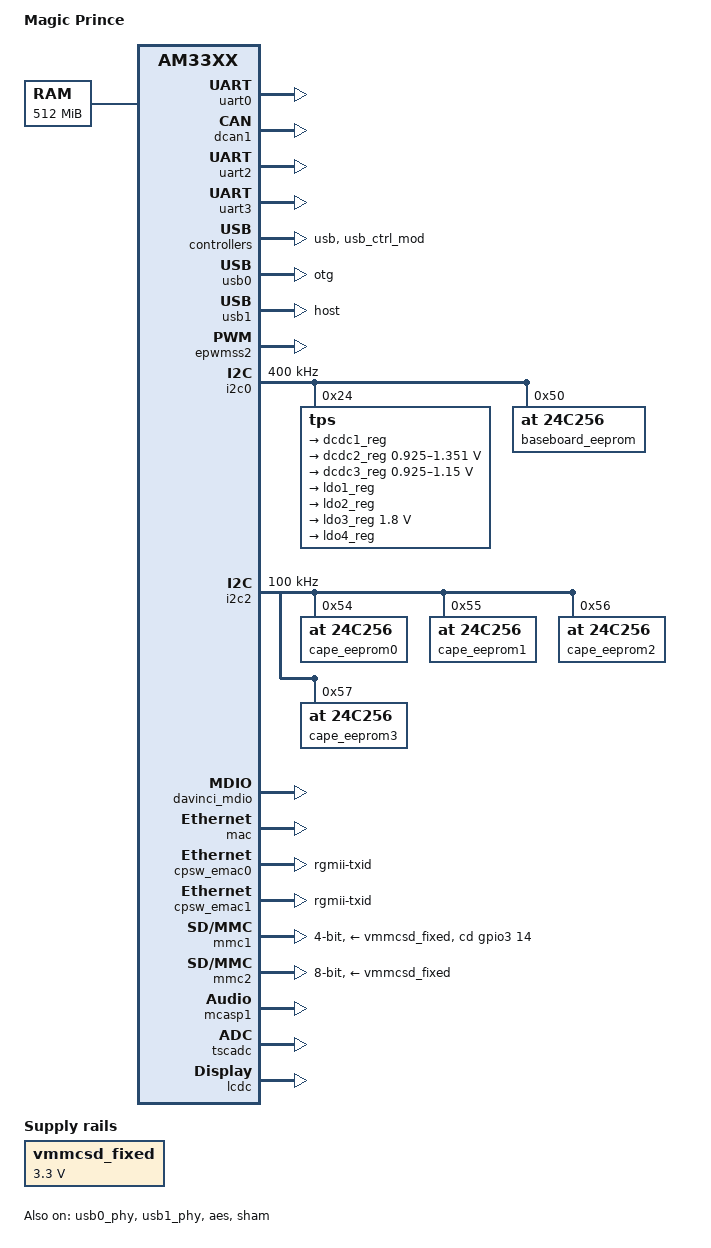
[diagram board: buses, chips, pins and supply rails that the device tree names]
/*
 * Copyright (C) 2012 Texas Instruments Incorporated - http://www.ti.com/
 *
 * This program is free software; you can redistribute it and/or modify
 * it under the terms of the GNU General Public License version 2 as
 * published by the Free Software Foundation.
 */
/dts-v1/;

#include "am33xx.dtsi"
#include <dt-bindings/input/input.h>

/ {
	model = "Magic Prince";
	compatible = "ti,am335x-aboc", "ti,am33xx";

	cpus {
		cpu@0 {
			cpu0-supply = <&dcdc2_reg>;
		};
	};

	memory@80000000 {
		device_type = "memory";
		reg = <0x80000000 0x20000000>; /* 512 MB */
	};

	chosen {
		stdout-path = &uart0;
	};

	leds {
		pinctrl-names = "default";
		pinctrl-0 = <&user_leds_s0>;

		compatible = "gpio-leds";
	};

	keys {
		pinctrl-names = "default";
		pinctrl-0 = <&gpio_key_pins>;
		compatible = "gpio-keys";
	};

	vmmcsd_fixed: fixedregulator0 {
		compatible = "regulator-fixed";
		regulator-name = "vmmcsd_fixed";
		regulator-min-microvolt = <3300000>;
		regulator-max-microvolt = <3300000>;
	};
};

&cpu0_opp_table {
	/*
	 * All PG 2.0 silicon may not support 1GHz but some of the early
	 * BeagleBone Blacks have PG 2.0 silicon which is guaranteed
	 * to support 1GHz OPP so enable it for PG 2.0 on this board.
	 */
	oppnitro@1000000000 {
		opp-supported-hw = <0x06 0x0100>;
	};
};

&am33xx_pinmux {
	pinctrl-names = "default";
	pinctrl-0 = <&clkout2_pin>;

	user_leds_s0: user_leds_s0 {
		pinctrl-single,pins = <
		>;
	};

	gpio_key_pins: gpio_keys_s0 {
		pinctrl-single,pins = <
			AM33XX_IOPAD(0x8a8, PIN_INPUT_PULLUP | MUX_MODE7)//gpio2_8 boot2
		>;
	};

	i2c0_pins: pinmux_i2c0_pins {
		pinctrl-single,pins = <
			AM33XX_IOPAD(0x988, PIN_INPUT_PULLUP | MUX_MODE0)	/* i2c0_sda.i2c0_sda */
			AM33XX_IOPAD(0x98c, PIN_INPUT_PULLUP | MUX_MODE0)	/* i2c0_scl.i2c0_scl */
		>;
	};

	i2c2_pins: pinmux_i2c2_pins {
		pinctrl-single,pins = <
			AM33XX_IOPAD(0x978, PIN_INPUT_PULLUP | MUX_MODE3)	/* uart1_ctsn.i2c2_sda */
			AM33XX_IOPAD(0x97c, PIN_INPUT_PULLUP | MUX_MODE3)	/* uart1_rtsn.i2c2_scl */
		>;
	};

	uart0_pins: pinmux_uart0_pins {
		pinctrl-single,pins = <
			AM33XX_IOPAD(0x970, PIN_INPUT_PULLUP | MUX_MODE0)	/* uart0_rxd.uart0_rxd */
			AM33XX_IOPAD(0x974, PIN_OUTPUT_PULLDOWN | MUX_MODE0)	/* uart0_txd.uart0_txd */
		>;
	};

//	uart1_pins: pinmux_uart1_pins {
//		pinctrl-single,pins = <
//			AM33XX_IOPAD(0x980, PIN_INPUT_PULLUP | MUX_MODE0)	/* uart1_rxd.uart1_rxd */
//			AM33XX_IOPAD(0x984, PIN_OUTPUT_PULLDOWN | MUX_MODE0)	/* uart1_txd.uart1_txd */
//		>;
//	};
//	dcan0_pins: pinmux_dcan0_pins {
//		pinctrl-single,pins = <
//			/* uart1_ctsn.dcan0_tx */
//			AM33XX_IOPAD(0x978, PIN_OUTPUT | MUX_MODE2)
//			/* uart1_rtsn.dcan0_rx */
//			AM33XX_IOPAD(0x97C, PIN_INPUT | MUX_MODE2)
//		>;
//	};

	dcan1_pins: pinmux_dcan1_pins {
		pinctrl-single,pins = <
			/* uart1_rxd.dcan1_tx */
			AM33XX_IOPAD(0x980, PIN_OUTPUT | MUX_MODE2)
			/* uart1_txd.dcan1_rx */
			AM33XX_IOPAD(0x984, PIN_INPUT | MUX_MODE2)
		>;
	};

	uart2_pins: pinmux_uart2_pins {
		pinctrl-single,pins = <
			AM33XX_IOPAD(0x950, PIN_INPUT_PULLUP | MUX_MODE1)	/* uart2_rxd.uart2_rxd */
			AM33XX_IOPAD(0x954, PIN_OUTPUT_PULLDOWN | MUX_MODE1)	/* uart2_txd.uart2_txd */
		>;
	};
	uart3_pins: pinmux_uart3_pins {
		pinctrl-single,pins = <
			AM33XX_IOPAD(0x960, PIN_INPUT_PULLUP | MUX_MODE1)	/* uart3_rxd.uart3_rxd */
			AM33XX_IOPAD(0x964, PIN_OUTPUT_PULLDOWN | MUX_MODE1)	/* uart3_txd.uart3_txd */
		>;
	};


	clkout2_pin: pinmux_clkout2_pin {
		pinctrl-single,pins = <
			AM33XX_IOPAD(0x9b4, PIN_OUTPUT_PULLDOWN | MUX_MODE3)	/* xdma_event_intr1.clkout2 */
		>;
	};

	lcd_pins_default: lcd_pins_default {
		pinctrl-single,pins = <
			AM33XX_IOPAD(0x820, PIN_OUTPUT | MUX_MODE1)	/* gpmc_ad8.lcd_data23 */
			AM33XX_IOPAD(0x824, PIN_OUTPUT | MUX_MODE1)	/* gpmc_ad9.lcd_data22 */
			AM33XX_IOPAD(0x828, PIN_OUTPUT | MUX_MODE1)	/* gpmc_ad10.lcd_data21 */
			AM33XX_IOPAD(0x82c, PIN_OUTPUT | MUX_MODE1)	/* gpmc_ad11.lcd_data20 */
			AM33XX_IOPAD(0x830, PIN_OUTPUT | MUX_MODE1)	/* gpmc_ad12.lcd_data19 */
			AM33XX_IOPAD(0x834, PIN_OUTPUT | MUX_MODE1)	/* gpmc_ad13.lcd_data18 */
			AM33XX_IOPAD(0x838, PIN_OUTPUT | MUX_MODE1)	/* gpmc_ad14.lcd_data17 */
			AM33XX_IOPAD(0x83c, PIN_OUTPUT | MUX_MODE1)	/* gpmc_ad15.lcd_data16 */
			AM33XX_IOPAD(0x8a0, PIN_OUTPUT | MUX_MODE0)	/* lcd_data0.lcd_data0 */
			AM33XX_IOPAD(0x8a4, PIN_OUTPUT | MUX_MODE0)	/* lcd_data1.lcd_data1 */
			AM33XX_IOPAD(0x8a8, PIN_OUTPUT | MUX_MODE0)	/* lcd_data2.lcd_data2 */
			AM33XX_IOPAD(0x8ac, PIN_OUTPUT | MUX_MODE0)	/* lcd_data3.lcd_data3 */
			AM33XX_IOPAD(0x8b0, PIN_OUTPUT | MUX_MODE0)	/* lcd_data4.lcd_data4 */
			AM33XX_IOPAD(0x8b4, PIN_OUTPUT | MUX_MODE0)	/* lcd_data5.lcd_data5 */
			AM33XX_IOPAD(0x8b8, PIN_OUTPUT | MUX_MODE0)	/* lcd_data6.lcd_data6 */
			AM33XX_IOPAD(0x8bc, PIN_OUTPUT | MUX_MODE0)	/* lcd_data7.lcd_data7 */
			AM33XX_IOPAD(0x8c0, PIN_OUTPUT | MUX_MODE0)	/* lcd_data8.lcd_data8 */
			AM33XX_IOPAD(0x8c4, PIN_OUTPUT | MUX_MODE0)	/* lcd_data9.lcd_data9 */
			AM33XX_IOPAD(0x8c8, PIN_OUTPUT | MUX_MODE0)	/* lcd_data10.lcd_data10 */
			AM33XX_IOPAD(0x8cc, PIN_OUTPUT | MUX_MODE0)	/* lcd_data11.lcd_data11 */
			AM33XX_IOPAD(0x8d0, PIN_OUTPUT | MUX_MODE0)	/* lcd_data12.lcd_data12 */
			AM33XX_IOPAD(0x8d4, PIN_OUTPUT | MUX_MODE0)	/* lcd_data13.lcd_data13 */
			AM33XX_IOPAD(0x8d8, PIN_OUTPUT | MUX_MODE0)	/* lcd_data14.lcd_data14 */
			AM33XX_IOPAD(0x8dc, PIN_OUTPUT | MUX_MODE0)	/* lcd_data15.lcd_data15 */
			AM33XX_IOPAD(0x8e0, PIN_OUTPUT | MUX_MODE0)	/* lcd_vsync.lcd_vsync */
			AM33XX_IOPAD(0x8e4, PIN_OUTPUT | MUX_MODE0)	/* lcd_hsync.lcd_hsync */
			AM33XX_IOPAD(0x8e8, PIN_OUTPUT | MUX_MODE0)	/* lcd_pclk.lcd_pclk */
			AM33XX_IOPAD(0x8ec, PIN_OUTPUT | MUX_MODE0)	/* lcd_ac_bias_en.lcd_ac_bias_en */
		>;
	};

	lcd_pins_sleep: lcd_pins_sleep {
		pinctrl-single,pins = <
			AM33XX_IOPAD(0x820, PIN_INPUT_PULLDOWN | MUX_MODE7)	/* gpmc_ad8.lcd_data23 */
			AM33XX_IOPAD(0x824, PIN_INPUT_PULLDOWN | MUX_MODE7)	/* gpmc_ad9.lcd_data22 */
			AM33XX_IOPAD(0x828, PIN_INPUT_PULLDOWN | MUX_MODE7)	/* gpmc_ad10.lcd_data21 */
			AM33XX_IOPAD(0x82c, PIN_INPUT_PULLDOWN | MUX_MODE7)	/* gpmc_ad11.lcd_data20 */
			AM33XX_IOPAD(0x830, PIN_INPUT_PULLDOWN | MUX_MODE7)	/* gpmc_ad12.lcd_data19 */
			AM33XX_IOPAD(0x834, PIN_INPUT_PULLDOWN | MUX_MODE7)	/* gpmc_ad13.lcd_data18 */
			AM33XX_IOPAD(0x838, PIN_INPUT_PULLDOWN | MUX_MODE7)	/* gpmc_ad14.lcd_data17 */
			AM33XX_IOPAD(0x83c, PIN_INPUT_PULLDOWN | MUX_MODE7)	/* gpmc_ad15.lcd_data16 */
			AM33XX_IOPAD(0x8a0, PULL_DISABLE | MUX_MODE7)	/* lcd_data0.lcd_data0 */
			AM33XX_IOPAD(0x8a4, PULL_DISABLE | MUX_MODE7)	/* lcd_data1.lcd_data1 */
			AM33XX_IOPAD(0x8a8, PULL_DISABLE | MUX_MODE7)	/* lcd_data2.lcd_data2 */
			AM33XX_IOPAD(0x8ac, PULL_DISABLE | MUX_MODE7)	/* lcd_data3.lcd_data3 */
			AM33XX_IOPAD(0x8b0, PULL_DISABLE | MUX_MODE7)	/* lcd_data4.lcd_data4 */
			AM33XX_IOPAD(0x8b4, PULL_DISABLE | MUX_MODE7)	/* lcd_data5.lcd_data5 */
			AM33XX_IOPAD(0x8b8, PULL_DISABLE | MUX_MODE7)	/* lcd_data6.lcd_data6 */
			AM33XX_IOPAD(0x8bc, PULL_DISABLE | MUX_MODE7)	/* lcd_data7.lcd_data7 */
			AM33XX_IOPAD(0x8c0, PULL_DISABLE | MUX_MODE7)	/* lcd_data8.lcd_data8 */
			AM33XX_IOPAD(0x8c4, PULL_DISABLE | MUX_MODE7)	/* lcd_data9.lcd_data9 */
			AM33XX_IOPAD(0x8c8, PULL_DISABLE | MUX_MODE7)	/* lcd_data10.lcd_data10 */
			AM33XX_IOPAD(0x8cc, PULL_DISABLE | MUX_MODE7)	/* lcd_data11.lcd_data11 */
			AM33XX_IOPAD(0x8d0, PULL_DISABLE | MUX_MODE7)	/* lcd_data12.lcd_data12 */
			AM33XX_IOPAD(0x8d4, PULL_DISABLE | MUX_MODE7)	/* lcd_data13.lcd_data13 */
			AM33XX_IOPAD(0x8d8, PULL_DISABLE | MUX_MODE7)	/* lcd_data14.lcd_data14 */
			AM33XX_IOPAD(0x8dc, PULL_DISABLE | MUX_MODE7)	/* lcd_data15.lcd_data15 */
			AM33XX_IOPAD(0x8e0, PIN_INPUT_PULLDOWN | MUX_MODE7)	/* lcd_vsync.lcd_vsync */
			AM33XX_IOPAD(0x8e4, PIN_INPUT_PULLDOWN | MUX_MODE7)	/* lcd_hsync.lcd_hsync */
			AM33XX_IOPAD(0x8e8, PIN_INPUT_PULLDOWN | MUX_MODE7)	/* lcd_pclk.lcd_pclk */
			AM33XX_IOPAD(0x8ec, PIN_INPUT_PULLDOWN | MUX_MODE7)	/* lcd_ac_bias_en.lcd_ac_bias_en */
		>;
	};

	davinci_mdio_default: davinci_mdio_default {
		pinctrl-single,pins = <
			/* MDIO */
			AM33XX_IOPAD(0x948, PIN_INPUT_PULLUP | SLEWCTRL_FAST | MUX_MODE0)	/* mdio_data.mdio_data */
			AM33XX_IOPAD(0x94c, PIN_OUTPUT_PULLUP | MUX_MODE0)			/* mdio_clk.mdio_clk */
		>;
	};

	davinci_mdio_sleep: davinci_mdio_sleep {
		pinctrl-single,pins = <
			/* MDIO reset value */
			AM33XX_IOPAD(0x948, PIN_INPUT_PULLDOWN | MUX_MODE7)
			AM33XX_IOPAD(0x94c, PIN_INPUT_PULLDOWN | MUX_MODE7)
		>;
	};

	clkout2_pin: pinmux_clkout2_pin {
		pinctrl-single,pins = <
			AM33XX_IOPAD(0x9b4, PIN_OUTPUT_PULLDOWN | MUX_MODE3)	/* xdma_event_intr1.clkout2 */
		>;
	};

	ecap2_pins: backlight_pins {
		pinctrl-single,pins = <
			AM33XX_IOPAD(0x99c, MUX_MODE4)	/* mcasp0_ahclkr.ecap2_in_pwm2_out */
		>;
	};

	cpsw_default: cpsw_default {
		pinctrl-single,pins = <
			/* Slave 1 */
			AM33XX_IOPAD(0x914, PIN_OUTPUT_PULLDOWN | MUX_MODE2)	/* mii1_txen.rgmii1_tctl */
			AM33XX_IOPAD(0x918, PIN_INPUT_PULLDOWN | MUX_MODE2)	/* mii1_rxdv.rgmii1_rctl */
			AM33XX_IOPAD(0x91c, PIN_OUTPUT_PULLDOWN | MUX_MODE2)	/* mii1_txd3.rgmii1_td3 */
			AM33XX_IOPAD(0x920, PIN_OUTPUT_PULLDOWN | MUX_MODE2)	/* mii1_txd2.rgmii1_td2 */
			AM33XX_IOPAD(0x924, PIN_OUTPUT_PULLDOWN | MUX_MODE2)	/* mii1_txd1.rgmii1_td1 */
			AM33XX_IOPAD(0x928, PIN_OUTPUT_PULLDOWN | MUX_MODE2)	/* mii1_txd0.rgmii1_td0 */
			AM33XX_IOPAD(0x92c, PIN_OUTPUT_PULLDOWN | MUX_MODE2)	/* mii1_txclk.rgmii1_tclk */
			AM33XX_IOPAD(0x930, PIN_INPUT_PULLDOWN | MUX_MODE2)	/* mii1_rxclk.rgmii1_rclk */
			AM33XX_IOPAD(0x934, PIN_INPUT_PULLDOWN | MUX_MODE2)	/* mii1_rxd3.rgmii1_rd3 */
			AM33XX_IOPAD(0x938, PIN_INPUT_PULLDOWN | MUX_MODE2)	/* mii1_rxd2.rgmii1_rd2 */
			AM33XX_IOPAD(0x93c, PIN_INPUT_PULLDOWN | MUX_MODE2)	/* mii1_rxd1.rgmii1_rd1 */
			AM33XX_IOPAD(0x940, PIN_INPUT_PULLDOWN | MUX_MODE2)	/* mii1_rxd0.rgmii1_rd0 */

			/* Slave 2 */
			AM33XX_IOPAD(0x840, PIN_OUTPUT_PULLDOWN | MUX_MODE2)	/* gpmc_a0.rgmii2_tctl */
			AM33XX_IOPAD(0x844, PIN_INPUT_PULLDOWN | MUX_MODE2)	/* gpmc_a1.rgmii2_rctl */
			AM33XX_IOPAD(0x848, PIN_OUTPUT_PULLDOWN | MUX_MODE2)	/* gpmc_a2.rgmii2_td3 */
			AM33XX_IOPAD(0x84c, PIN_OUTPUT_PULLDOWN | MUX_MODE2)	/* gpmc_a3.rgmii2_td2 */
			AM33XX_IOPAD(0x850, PIN_OUTPUT_PULLDOWN | MUX_MODE2)	/* gpmc_a4.rgmii2_td1 */
			AM33XX_IOPAD(0x854, PIN_OUTPUT_PULLDOWN | MUX_MODE2)	/* gpmc_a5.rgmii2_td0 */
			AM33XX_IOPAD(0x858, PIN_OUTPUT_PULLDOWN | MUX_MODE2)	/* gpmc_a6.rgmii2_tclk */
			AM33XX_IOPAD(0x85c, PIN_INPUT_PULLDOWN | MUX_MODE2)	/* gpmc_a7.rgmii2_rclk */
			AM33XX_IOPAD(0x860, PIN_INPUT_PULLDOWN | MUX_MODE2)	/* gpmc_a8.rgmii2_rd3 */
			AM33XX_IOPAD(0x864, PIN_INPUT_PULLDOWN | MUX_MODE2)	/* gpmc_a9.rgmii2_rd2 */
			AM33XX_IOPAD(0x868, PIN_INPUT_PULLDOWN | MUX_MODE2)	/* gpmc_a10.rgmii2_rd1 */
			AM33XX_IOPAD(0x86c, PIN_INPUT_PULLDOWN | MUX_MODE2)	/* gpmc_a11.rgmii2_rd0 */
		>;
	};

	cpsw_sleep: cpsw_sleep {
		pinctrl-single,pins = <
			/* Slave 1 reset value */
			AM33XX_IOPAD(0x914, PIN_INPUT_PULLDOWN | MUX_MODE7)
			AM33XX_IOPAD(0x918, PIN_INPUT_PULLDOWN | MUX_MODE7)
			AM33XX_IOPAD(0x91c, PIN_INPUT_PULLDOWN | MUX_MODE7)
			AM33XX_IOPAD(0x920, PIN_INPUT_PULLDOWN | MUX_MODE7)
			AM33XX_IOPAD(0x924, PIN_INPUT_PULLDOWN | MUX_MODE7)
			AM33XX_IOPAD(0x928, PIN_INPUT_PULLDOWN | MUX_MODE7)
			AM33XX_IOPAD(0x92c, PIN_INPUT_PULLDOWN | MUX_MODE7)
			AM33XX_IOPAD(0x930, PIN_INPUT_PULLDOWN | MUX_MODE7)
			AM33XX_IOPAD(0x934, PIN_INPUT_PULLDOWN | MUX_MODE7)
			AM33XX_IOPAD(0x938, PIN_INPUT_PULLDOWN | MUX_MODE7)
			AM33XX_IOPAD(0x93c, PIN_INPUT_PULLDOWN | MUX_MODE7)
			AM33XX_IOPAD(0x940, PIN_INPUT_PULLDOWN | MUX_MODE7)

			/* Slave 2 reset value*/
			AM33XX_IOPAD(0x840, PIN_INPUT_PULLDOWN | MUX_MODE7)
			AM33XX_IOPAD(0x844, PIN_INPUT_PULLDOWN | MUX_MODE7)
			AM33XX_IOPAD(0x848, PIN_INPUT_PULLDOWN | MUX_MODE7)
			AM33XX_IOPAD(0x84c, PIN_INPUT_PULLDOWN | MUX_MODE7)
			AM33XX_IOPAD(0x850, PIN_INPUT_PULLDOWN | MUX_MODE7)
			AM33XX_IOPAD(0x854, PIN_INPUT_PULLDOWN | MUX_MODE7)
			AM33XX_IOPAD(0x858, PIN_INPUT_PULLDOWN | MUX_MODE7)
			AM33XX_IOPAD(0x85c, PIN_INPUT_PULLDOWN | MUX_MODE7)
			AM33XX_IOPAD(0x860, PIN_INPUT_PULLDOWN | MUX_MODE7)
			AM33XX_IOPAD(0x864, PIN_INPUT_PULLDOWN | MUX_MODE7)
			AM33XX_IOPAD(0x868, PIN_INPUT_PULLDOWN | MUX_MODE7)
			AM33XX_IOPAD(0x86c, PIN_INPUT_PULLDOWN | MUX_MODE7)
		>;
	};

	mmc1_pins: pinmux_mmc1_pins {
		pinctrl-single,pins = <
			AM33XX_IOPAD(0x990, PIN_INPUT | MUX_MODE7) //gpio3_14
			0x0F0 (PIN_INPUT_PULLUP | MUX_MODE0)    /* mmc0_dat3.mmc0_dat3 */
            0x0F4 (PIN_INPUT_PULLUP | MUX_MODE0)    /* mmc0_dat2.mmc0_dat2 */
            0x0F8 (PIN_INPUT_PULLUP | MUX_MODE0)    /* mmc0_dat1.mmc0_dat1 */
            0x0FC (PIN_INPUT_PULLUP | MUX_MODE0)    /* mmc0_dat0.mmc0_dat0 */
            0x100 (PIN_INPUT_PULLUP | MUX_MODE0)    /* mmc0_clk.mmc0_clk */
            0x104 (PIN_INPUT_PULLUP | MUX_MODE0)    /* mmc0_cmd.mmc0_cmd */
		>;
	};

	mcasp1_pins: mcasp1_pins {
		pinctrl-single,pins = <
			AM33XX_IOPAD(0x90c, PIN_INPUT_PULLDOWN | MUX_MODE4) /* mii1_crs.mcasp1_aclkx */
			AM33XX_IOPAD(0x910, PIN_INPUT_PULLDOWN | MUX_MODE4) /* mii1_rxerr.mcasp1_fsx */
			AM33XX_IOPAD(0x908, PIN_OUTPUT_PULLDOWN | MUX_MODE4) /* mii1_col.mcasp1_axr2 */
			AM33XX_IOPAD(0x944, PIN_INPUT_PULLDOWN | MUX_MODE4) /* rmii1_ref_clk.mcasp1_axr3 */
		>;
	};

	mcasp1_pins_sleep: mcasp1_pins_sleep {
		pinctrl-single,pins = <
			AM33XX_IOPAD(0x90c, PIN_INPUT_PULLDOWN | MUX_MODE7)
			AM33XX_IOPAD(0x910, PIN_INPUT_PULLDOWN | MUX_MODE7)
			AM33XX_IOPAD(0x908, PIN_INPUT_PULLDOWN | MUX_MODE7)
			AM33XX_IOPAD(0x944, PIN_INPUT_PULLDOWN | MUX_MODE7)
		>;
	};

	emmc_pins: pinmux_emmc_pins {
		pinctrl-single,pins = <
			AM33XX_IOPAD(0x880, PIN_INPUT_PULLUP | MUX_MODE2) /* gpmc_csn1.mmc1_clk */
			AM33XX_IOPAD(0x884, PIN_INPUT_PULLUP | MUX_MODE2) /* gpmc_csn2.mmc1_cmd */
			AM33XX_IOPAD(0x800, PIN_INPUT_PULLUP | MUX_MODE1) /* gpmc_ad0.mmc1_dat0 */
			AM33XX_IOPAD(0x804, PIN_INPUT_PULLUP | MUX_MODE1) /* gpmc_ad1.mmc1_dat1 */
			AM33XX_IOPAD(0x808, PIN_INPUT_PULLUP | MUX_MODE1) /* gpmc_ad2.mmc1_dat2 */
			AM33XX_IOPAD(0x80c, PIN_INPUT_PULLUP | MUX_MODE1) /* gpmc_ad3.mmc1_dat3 */
			AM33XX_IOPAD(0x810, PIN_INPUT_PULLUP | MUX_MODE1) /* gpmc_ad4.mmc1_dat4 */
			AM33XX_IOPAD(0x814, PIN_INPUT_PULLUP | MUX_MODE1) /* gpmc_ad5.mmc1_dat5 */
			AM33XX_IOPAD(0x818, PIN_INPUT_PULLUP | MUX_MODE1) /* gpmc_ad6.mmc1_dat6 */
			AM33XX_IOPAD(0x81c, PIN_INPUT_PULLUP | MUX_MODE1) /* gpmc_ad7.mmc1_dat7 */
		>;
	};
};

&uart0 {
	pinctrl-names = "default";
	pinctrl-0 = <&uart0_pins>;
	status = "okay";
};

//&uart1 {
//	pinctrl-names = "default";
//	pinctrl-0 = <&uart1_pins>;
//	status = "okay";
//};
//&dcan0 {
//	status = "okay";
//	pinctrl-names = "default";
//	pinctrl-0 = <&dcan0_pins>;
//};

&dcan1 {
	status = "okay";
	pinctrl-names = "default";
	pinctrl-0 = <&dcan1_pins>;
};

&uart2 {
	pinctrl-names = "default";
	pinctrl-0 = <&uart2_pins>;

	status = "okay";
};

&uart3 {
	pinctrl-names = "default";
	pinctrl-0 = <&uart3_pins>;

	status = "okay";
};

/*
&rtc {
	system-power-controller;
};
*/

&usb {
	status = "okay";
};

&usb_ctrl_mod {
	status = "okay";
};

&usb0_phy {
	status = "okay";
};

&usb1_phy {
	status = "okay";
};

&usb0 {
	status = "okay";
	dr_mode = "otg";
};

&usb1 {
	status = "okay";
	dr_mode = "host";
};

&cppi41dma  {
	status = "okay";
};

&epwmss2 {
	status = "okay";

	ecap2: ecap@48304100 {
		status = "okay";
		pinctrl-names = "default";
		pinctrl-0 = <&ecap2_pins>;
	};
};

&i2c0 {
	pinctrl-names = "default";
	pinctrl-0 = <&i2c0_pins>;

	status = "okay";
	clock-frequency = <400000>;

	tps: tps@24 {
		reg = <0x24>;
	};

	baseboard_eeprom: baseboard_eeprom@50 {
		compatible = "at,24c256";
		reg = <0x50>;

		#address-cells = <1>;
		#size-cells = <1>;
		baseboard_data: baseboard_data@0 {
			reg = <0 0x100>;
		};
	};
};

&i2c2 {
	pinctrl-names = "default";
	pinctrl-0 = <&i2c2_pins>;

	status = "okay";
	clock-frequency = <100000>;

	cape_eeprom0: cape_eeprom0@54 {
		compatible = "at,24c256";
		reg = <0x54>;
		#address-cells = <1>;
		#size-cells = <1>;
		cape0_data: cape_data@0 {
			reg = <0 0x100>;
		};
	};

	cape_eeprom1: cape_eeprom1@55 {
		compatible = "at,24c256";
		reg = <0x55>;
		#address-cells = <1>;
		#size-cells = <1>;
		cape1_data: cape_data@0 {
			reg = <0 0x100>;
		};
	};

	cape_eeprom2: cape_eeprom2@56 {
		compatible = "at,24c256";
		reg = <0x56>;
		#address-cells = <1>;
		#size-cells = <1>;
		cape2_data: cape_data@0 {
			reg = <0 0x100>;
		};
	};

	cape_eeprom3: cape_eeprom3@57 {
		compatible = "at,24c256";
		reg = <0x57>;
		#address-cells = <1>;
		#size-cells = <1>;
		cape3_data: cape_data@0 {
			reg = <0 0x100>;
		};
	};
};


/include/ "tps65217.dtsi"

&tps {
	/*
	 * Configure pmic to enter OFF-state instead of SLEEP-state ("RTC-only
	 * mode") at poweroff.  Most BeagleBone versions do not support RTC-only
	 * mode and risk hardware damage if this mode is entered.
	 *
	 * For details, see linux-omap mailing list May 2015 thread
	 *	[PATCH] ARM: dts: am335x-bone* enable pmic-shutdown-controller
	 * In particular, messages:
	 *	http://www.spinics.net/lists/linux-omap/msg118585.html
	 *	http://www.spinics.net/lists/linux-omap/msg118615.html
	 *
	 * You can override this later with
	 *	&tps {  /delete-property/ ti,pmic-shutdown-controller;  }
	 * if you want to use RTC-only mode and made sure you are not affected
	 * by the hardware problems. (Tip: double-check by performing a current
	 * measurement after shutdown: it should be less than 1 mA.)
	 */
	ti,pmic-shutdown-controller;

	regulators {
		dcdc1_reg: regulator@0 {
			regulator-name = "vdds_dpr";
			regulator-always-on;
		};

		dcdc2_reg: regulator@1 {
			/* VDD_MPU voltage limits 0.95V - 1.26V with +/-4% tolerance */
			regulator-name = "vdd_mpu";
			regulator-min-microvolt = <925000>;
			regulator-max-microvolt = <1351500>;
			regulator-boot-on;
			regulator-always-on;
		};

		dcdc3_reg: regulator@2 {
			/* VDD_CORE voltage limits 0.95V - 1.1V with +/-4% tolerance */
			regulator-name = "vdd_core";
			regulator-min-microvolt = <925000>;
			regulator-max-microvolt = <1150000>;
			regulator-boot-on;
			regulator-always-on;
		};

		ldo1_reg: regulator@3 {
			regulator-name = "vio,vrtc,vdds";
			regulator-always-on;
		};

		ldo2_reg: regulator@4 {
			regulator-name = "vdd_3v3aux";
			regulator-always-on;
		};

		ldo3_reg: regulator@5 {
			regulator-name = "vdd_1v8";
			regulator-always-on;
		};

		ldo4_reg: regulator@6 {
			regulator-name = "vdd_3v3a";
			regulator-always-on;
		};
	};
};

&davinci_mdio {
	pinctrl-names = "default", "sleep";
	pinctrl-0 = <&davinci_mdio_default>;
	pinctrl-1 = <&davinci_mdio_sleep>;
	status = "okay";
};

&aes {
	status = "okay";
};

&sham {
	status = "okay";
};

&rtc {
	clocks = <&clk_32768_ck>,  <&l4_per_clkctrl AM3_CLKDIV32K_CLKCTRL 0>;
	clock-names = "ext-clk", "int-clk";
	system-power-controller;
};

&wkup_m3_ipc {
	ti,scale-data-fw = "am335x-bone-scale-data.bin";
};


&ldo3_reg {
	regulator-min-microvolt = <1800000>;
	regulator-max-microvolt = <1800000>;
	regulator-always-on;
};

&mac {
	pinctrl-names = "default", "sleep";
	pinctrl-0 = <&cpsw_default>;
	pinctrl-1 = <&cpsw_sleep>;
	dual_emac = <1>;
	status = "okay";
};

&davinci_mdio {
	pinctrl-names = "default", "sleep";
	pinctrl-0 = <&davinci_mdio_default>;
	pinctrl-1 = <&davinci_mdio_sleep>;
	status = "okay";
};

&cpsw_emac0 {
	phy_id = <&davinci_mdio>, <0>;
	phy-mode = "rgmii-txid";
	dual_emac_res_vlan = <1>;
};

&cpsw_emac1 {
	phy_id = <&davinci_mdio>, <1>;
	phy-mode = "rgmii-txid";
	dual_emac_res_vlan = <2>;
};

&mmc1 {
	vmmc-supply = <&vmmcsd_fixed>;
	pinctrl-names = "default";
	pinctrl-0 = <&mmc1_pins>;
	bus-width = <0x4>;
	cd-gpios = <&gpio3 14 GPIO_ACTIVE_LOW>;
	cd-inverted;
	//max-frequency = <26000000>;
	status = "okay";
};

&mmc2 {
	vmmc-supply = <&vmmcsd_fixed>;
	pinctrl-names = "default";
	pinctrl-0 = <&emmc_pins>;
	bus-width = <8>;
	status = "okay";
};

&mcasp1 {
	#sound-dai-cells = <0>;
	pinctrl-names = "default", "sleep";
	pinctrl-0 = <&mcasp1_pins>;
	pinctrl-1 = <&mcasp1_pins_sleep>;

	status = "okay";

	op-mode = <0>;          /* MCASP_IIS_MODE */
	tdm-slots = <2>;
	/* 4 serializers */
	serial-dir = <  /* 0: INACTIVE, 1: TX, 2: RX */
		0 0 1 2
	>;
	tx-num-evt = <32>;
	rx-num-evt = <32>;
};

&tscadc {
	status = "okay";
	tsc {
		ti,wires = <4>;
		ti,x-plate-resistance = <200>;
		ti,coordinate-readouts = <5>;
		ti,wire-config = <0x00 0x11 0x22 0x33>;
	};
};

&lcdc {
      status = "okay";
};
